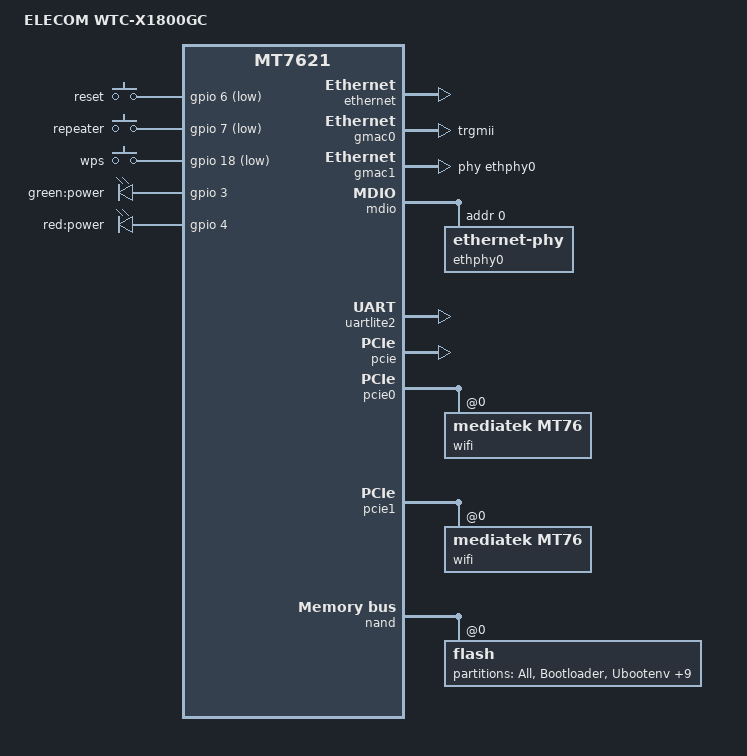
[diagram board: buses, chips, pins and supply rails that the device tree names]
#include "mt7621.dtsi"

#include <dt-bindings/input/input.h>

/ {
	compatible = "elecom,wtc-x1800gc", "mediatek,mt7621-soc";
	model = "ELECOM WTC-X1800GC";

	keys {
		#address-cells = <1>;
		#size-cells = <0>;
		compatible = "gpio-keys";
		
		reset {
			label = "reset";
			gpios = <&gpio 6 GPIO_ACTIVE_LOW>;
			linux,code = <KEY_RESTART>;
		};

		repeater {
			label = "repeater";
			gpios = <&gpio 7 GPIO_ACTIVE_LOW>;
			linux,code = <BTN_0>;
			linux,input-type = <EV_SW>;
		};

		wps {
			label = "wps";
			gpios = <&gpio 18 GPIO_ACTIVE_LOW>;
			linux,code = <KEY_WPS_BUTTON>;
		};
	};

	leds: leds {
		compatible = "gpio-leds";

		led_power_green: power_green {
			gpios = <&gpio 3 GPIO_ACTIVE_HIGH>;
			label = "green:power";
		};

		led_power_red: power_red {
			default-state = "on";
			gpios = <&gpio 4 GPIO_ACTIVE_HIGH>;
			label = "red:power";
		};
	};
};

&ethernet {
	status = "okay";
};

&switch0 {
	port@5 {
		phy-mode = "rgmii";
		reg = <5>;

		fixed-link {
			full-duplex;
			speed = <1000>;
		};
	};

	port@6 {
		phy-mode = "trgmii";
	};
};

&gmac0 {
	phy-mode = "trgmii";
	nvmem-cells = <&macaddr_factory_1fdfa>;
	nvmem-cell-names = "mac-address";
};

&gmac1 {
	status = "okay";
	label = "wan";
	phy-handle = <&ethphy0>;

	nvmem-cells = <&macaddr_factory_1fdf4>;
	nvmem-cell-names = "mac-address";
};

&mdio {
	ethphy0: ethernet-phy@0 {
		reg = <0>;
	};
};

&uartlite2 {
	status = "okay";
};

&pcie {
	status = "okay";
};

&pcie0 {
	wifi@0,0 {
		compatible = "mediatek,mt76";
		reg = <0x0000 0 0 0 0>;
		mediatek,mtd-eeprom = <&factory 0x0000>;

		led {
			led-sources = <0>;
			led-active-low;
		};
	};
};

&pcie1 {
	wifi@0,0 {
		compatible = "mediatek,mt76";
		reg = <0x0000 0 0 0 0>;
		mediatek,mtd-eeprom = <&factory 0x8000>;

		led {
			led-sources = <0>;
			led-active-low;
		};
	};
};


&nand {
	status = "okay";

	flash@0 {
		nand-ecc-mode = "hw";
		reg = <0>;

		partitions {
			#address-cells = <1>;
			#size-cells = <1>;
			compatible = "fixed-partitions";

			All@0 {
				label = "All";
				read-only;
				reg = <0x00 0x7f80000>;
			};

			partition@0 {
				label = "Bootloader";
				reg = <0x00 0x100000>;
			};

			partition@100000 {
				label = "Ubootenv";
				reg = <0x100000 0x100000>;
			};

			factory: partition@200000 {
				label = "Factory";
				reg = <0x200000 0x1c0000>;
			};

			partition@3c0000 {
				label = "firmware";
				reg = <0x3c0000 0x3340000>;

				compatible = "fixed-partitions";
				#address-cells = <1>;
				#size-cells = <1>;

				partition@0 {
					label = "kernel";
					reg = <0x4000 0x380000>;
				};

				partition@800000 {
					label = "ubi";
					reg = <0x3C0000 0x2E80000>;
				};
			};

			partition@3700000 {
				label = "firmware2";
				reg = <0x3700000 0x3240000>;
			};

			partition@6940000 {
				label = "Config_2";
				reg = <0x6940000 0x100000>;
			};

			partition@6A40000 {
				label = "persist";
				reg = <0x6a40000 0x100000>;
			};

			partition@6B40000 {
				label = "mesh";
				reg = <0x6b40000 0x100000>;
			};

			partition@6C40000 {
				label = "Backup";
				reg = <0x6c40000 0x1340000>;
			};
		};
	};
};

&factory {
	compatible = "nvmem-cells";
	#address-cells = <1>;
	#size-cells = <1>;

	macaddr_factory_1fdfa: macaddr@1fdfa {
		reg = <0x1fdfa 0x6>;
	};

	macaddr_factory_1fdf4: macaddr@1fdf4 {
		reg = <0x1fdf4 0x6>;
	};
};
